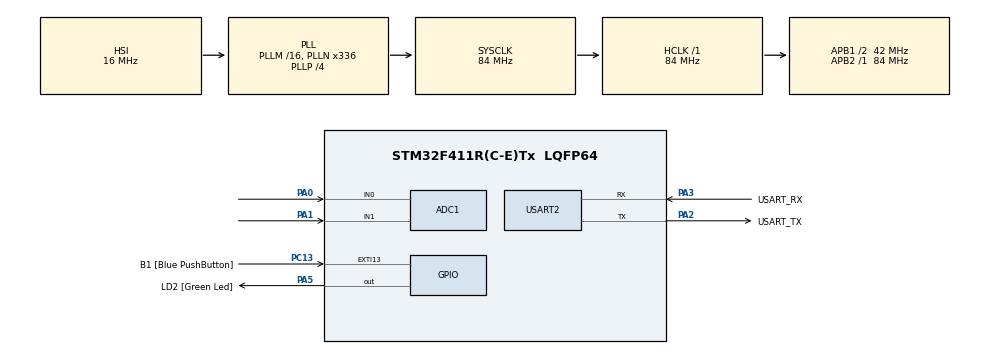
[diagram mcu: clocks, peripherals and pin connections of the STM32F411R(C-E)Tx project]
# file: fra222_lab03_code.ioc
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ADC1.Channel-1\#ChannelRegularConversion=ADC_CHANNEL_0
ADC1.NbrOfConversionFlag=1
ADC1.Rank-1\#ChannelRegularConversion=1
ADC1.SamplingTime-1\#ChannelRegularConversion=ADC_SAMPLETIME_3CYCLES
ADC1.master=1
Mcu.Family=STM32F4
Mcu.Name=STM32F411R(C-E)Tx
Mcu.Package=LQFP64
NVIC.PriorityGroup=NVIC_PRIORITYGROUP_0
PA0-WKUP.Signal=ADCx_IN0
PA1.Signal=ADCx_IN1
PA13.Signal=SYS_JTMS-SWDIO
PA14.GPIO_Label=TCK
PA14.Signal=SYS_JTCK-SWCLK
PA2.GPIO_Label=USART_TX
PA2.Mode=Asynchronous
PA2.Signal=USART2_TX
PA3.GPIO_Label=USART_RX
PA3.Mode=Asynchronous
PA3.Signal=USART2_RX
PA5.GPIO_Label=LD2 [Green Led]
PA5.Signal=GPIO_Output
PB3.GPIO_Label=SWO
PB3.Signal=SYS_JTDO-SWO
PC13-ANTI_TAMP.GPIO_Label=B1 [Blue PushButton]
PC13-ANTI_TAMP.GPIO_ModeDefaultEXTI=GPIO_MODE_IT_FALLING
PC13-ANTI_TAMP.Signal=GPXTI13
PC14-OSC32_IN.Mode=LSE-External-Oscillator
PC14-OSC32_IN.Signal=RCC_OSC32_IN
PC15-OSC32_OUT.Mode=LSE-External-Oscillator
PC15-OSC32_OUT.Signal=RCC_OSC32_OUT
PH0\ -\ OSC_IN.Mode=HSE-External-Clock-Source
PH0\ -\ OSC_IN.Signal=RCC_OSC_IN
PH1\ -\ OSC_OUT.Mode=HSE-External-Clock-Source
PH1\ -\ OSC_OUT.Signal=RCC_OSC_OUT
ProjectManager.HeapSize=0x200
ProjectManager.StackSize=0x400
ProjectManager.TargetToolchain=STM32CubeIDE
RCC.48MHZClocksFreq_Value=84000000
RCC.AHBFreq_Value=84000000
RCC.APB1CLKDivider=RCC_HCLK_DIV2
RCC.APB1Freq_Value=42000000
RCC.APB1TimFreq_Value=84000000
RCC.APB2Freq_Value=84000000
RCC.APB2TimFreq_Value=84000000
RCC.CortexFreq_Value=84000000
RCC.FLatency-AdvancedSettings=FLASH_LATENCY_2
RCC.HCLKFreq_Value=84000000
RCC.HSE_VALUE=8000000
RCC.HSI_VALUE=16000000
RCC.PLLN=336
RCC.PLLP=RCC_PLLP_DIV4
RCC.SYSCLKFreq_VALUE=84000000
RCC.SYSCLKSource=RCC_SYSCLKSOURCE_PLLCLK
RCC.VCOOutputFreq_Value=336000000
SH.ADCx_IN0.0=ADC1_IN0,IN0
SH.ADCx_IN1.0=ADC1_IN1,IN1
USART2.VirtualMode=VM_ASYNC
VP_ADC1_TempSens_Input.Mode=IN-TempSens
board=NUCLEO-F411RE

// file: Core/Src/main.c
/* USER CODE BEGIN Header */
/**
  ******************************************************************************
  * @file           : main.c
  * @brief          : Main program body
  ******************************************************************************
  * @attention
  *
  * <h2><center>&copy; Copyright (c) 2021 STMicroelectronics.
  * All rights reserved.</center></h2>
  *
  * This software component is licensed by ST under BSD 3-Clause license,
  * the "License"; You may not use this file except in compliance with the
  * License. You may obtain a copy of the License at:
  *                        opensource.org/licenses/BSD-3-Clause
  *
  ******************************************************************************
  */
/* USER CODE END Header */
#include "main.h"

ADC_HandleTypeDef hadc1;

UART_HandleTypeDef huart2;

/* USER CODE BEGIN PV */

typedef struct {
	ADC_ChannelConfTypeDef Config;
	uint32_t Data;
//>>
} ADCstructure;

ADCstructure ADCchannel[3] = {0};

float ADCOutputConverted = 0.0;  //voltage at PA0 (mV) and temperature (C)
uint8_t ADCMode = 0;             //mode0               and mode1

uint8_t SwitchButton[2] = {0};

/* USER CODE END PV */

void SystemClock_Config(void);
static void MX_GPIO_Init(void);
static void MX_USART2_UART_Init(void);
static void MX_ADC1_Init(void);
/* USER CODE BEGIN PFP */

void ADCPollingInit();  //set initial config of 3 ADCs

void ADCPollingUpdate();  //read ADC

/* USER CODE END PFP */

int main(void)
{

  /* MCU Configuration--------------------------------------------------------*/

  /* Reset of all peripherals, Initializes the Flash interface and the Systick. */
  HAL_Init();

  /* Configure the system clock */
  SystemClock_Config();

  /* Initialize all configured peripherals */
  MX_GPIO_Init();
  MX_USART2_UART_Init();
  MX_ADC1_Init();
  /* USER CODE BEGIN 2 */

  ADCPollingInit();

  /* USER CODE END 2 */

  /* Infinite loop */
  while (1)
  {

    /* USER CODE BEGIN 3 */

	  //button event
	  SwitchButton[0] = HAL_GPIO_ReadPin(GPIOC, GPIO_PIN_13);  //USER BUTTON

	  if (SwitchButton[0]==0 && SwitchButton[1]==1)
	  {
		  ADCMode = !ADCMode;  //0 or 1
	  }
	  SwitchButton[1] = SwitchButton[0];

	  //read analog
	  ADCPollingUpdate();

	  //mode0 read voltage (mV)
	  if (ADCMode == 0)
	  {
		  //using
		  //Vrev = 3300 mV
		  //resolution 12 bits = 4096
		  //
		  //equation : Vrev/2^resolution = Vcurrent/readedADC
		  //
		  ADCOutputConverted = 3300 / 4096.0 * ADCchannel[0].Data;
	  }
	  //mode1 read temperature (C)
	  else if (ADCMode == 1)
	  {
		  //from datasheet (temperature sensor characteristics p.119/149)
		  //using
		  //V_25 = 0.76 V
		  //Avg_slope = 2.5 mV/C
		  //
		  //equation : current temp = (Vsense-V_25)/Avg_slope + 25
		  //
		  ADCOutputConverted = ((3.3/4096.0 * ADCchannel[2].Data) - 0.76)/0.025 + 25;
	  }
  }
  /* USER CODE END 3 */
}

void SystemClock_Config(void)
{
  RCC_OscInitTypeDef RCC_OscInitStruct = {0};
  RCC_ClkInitTypeDef RCC_ClkInitStruct = {0};

  /** Configure the main internal regulator output voltage
  */
  __HAL_RCC_PWR_CLK_ENABLE();
  __HAL_PWR_VOLTAGESCALING_CONFIG(PWR_REGULATOR_VOLTAGE_SCALE1);
  /** Initializes the RCC Oscillators according to the specified parameters
  * in the RCC_OscInitTypeDef structure.
  */
  RCC_OscInitStruct.OscillatorType = RCC_OSCILLATORTYPE_HSI;
  RCC_OscInitStruct.HSIState = RCC_HSI_ON;
  RCC_OscInitStruct.HSICalibrationValue = RCC_HSICALIBRATION_DEFAULT;
  RCC_OscInitStruct.PLL.PLLState = RCC_PLL_ON;
  RCC_OscInitStruct.PLL.PLLSource = RCC_PLLSOURCE_HSI;
  RCC_OscInitStruct.PLL.PLLM = 16;
  RCC_OscInitStruct.PLL.PLLN = 336;
  RCC_OscInitStruct.PLL.PLLP = RCC_PLLP_DIV4;
  RCC_OscInitStruct.PLL.PLLQ = 4;
  if (HAL_RCC_OscConfig(&RCC_OscInitStruct) != HAL_OK)
  {
    Error_Handler();
  }
  /** Initializes the CPU, AHB and APB buses clocks
  */
  RCC_ClkInitStruct.ClockType = RCC_CLOCKTYPE_HCLK|RCC_CLOCKTYPE_SYSCLK
                              |RCC_CLOCKTYPE_PCLK1|RCC_CLOCKTYPE_PCLK2;
  RCC_ClkInitStruct.SYSCLKSource = RCC_SYSCLKSOURCE_PLLCLK;
  RCC_ClkInitStruct.AHBCLKDivider = RCC_SYSCLK_DIV1;
  RCC_ClkInitStruct.APB1CLKDivider = RCC_HCLK_DIV2;
  RCC_ClkInitStruct.APB2CLKDivider = RCC_HCLK_DIV1;

  if (HAL_RCC_ClockConfig(&RCC_ClkInitStruct, FLASH_LATENCY_2) != HAL_OK)
  {
    Error_Handler();
  }
}

static void MX_ADC1_Init(void)
{

  ADC_ChannelConfTypeDef sConfig = {0};

  /** Configure the global features of the ADC (Clock, Resolution, Data Alignment and number of conversion)
  */
  hadc1.Instance = ADC1;
  hadc1.Init.ClockPrescaler = ADC_CLOCK_SYNC_PCLK_DIV4;
  hadc1.Init.Resolution = ADC_RESOLUTION_12B;
  hadc1.Init.ScanConvMode = DISABLE;
  hadc1.Init.ContinuousConvMode = DISABLE;
  hadc1.Init.DiscontinuousConvMode = DISABLE;
  hadc1.Init.ExternalTrigConvEdge = ADC_EXTERNALTRIGCONVEDGE_NONE;
  hadc1.Init.ExternalTrigConv = ADC_SOFTWARE_START;
  hadc1.Init.DataAlign = ADC_DATAALIGN_RIGHT;
  hadc1.Init.NbrOfConversion = 1;
  hadc1.Init.DMAContinuousRequests = DISABLE;
  hadc1.Init.EOCSelection = ADC_EOC_SINGLE_CONV;
  if (HAL_ADC_Init(&hadc1) != HAL_OK)
  {
    Error_Handler();
  }
  /** Configure for the selected ADC regular channel its corresponding rank in the sequencer and its sample time.
  */
  sConfig.Channel = ADC_CHANNEL_0;
  sConfig.Rank = 1;
  sConfig.SamplingTime = ADC_SAMPLETIME_3CYCLES;
  if (HAL_ADC_ConfigChannel(&hadc1, &sConfig) != HAL_OK)
  {
    Error_Handler();
  }

}

static void MX_USART2_UART_Init(void)
{

  huart2.Instance = USART2;
  huart2.Init.BaudRate = 115200;
  huart2.Init.WordLength = UART_WORDLENGTH_8B;
  huart2.Init.StopBits = UART_STOPBITS_1;
  huart2.Init.Parity = UART_PARITY_NONE;
  huart2.Init.Mode = UART_MODE_TX_RX;
  huart2.Init.HwFlowCtl = UART_HWCONTROL_NONE;
  huart2.Init.OverSampling = UART_OVERSAMPLING_16;
  if (HAL_UART_Init(&huart2) != HAL_OK)
  {
    Error_Handler();
  }

}

static void MX_GPIO_Init(void)
{
  GPIO_InitTypeDef GPIO_InitStruct = {0};

  /* GPIO Ports Clock Enable */
  __HAL_RCC_GPIOC_CLK_ENABLE();
  __HAL_RCC_GPIOH_CLK_ENABLE();
  __HAL_RCC_GPIOA_CLK_ENABLE();
  __HAL_RCC_GPIOB_CLK_ENABLE();

  /*Configure GPIO pin Output Level */
  HAL_GPIO_WritePin(LD2_GPIO_Port, LD2_Pin, GPIO_PIN_RESET);

  /*Configure GPIO pin : B1_Pin */
  GPIO_InitStruct.Pin = B1_Pin;
  GPIO_InitStruct.Mode = GPIO_MODE_IT_FALLING;
  GPIO_InitStruct.Pull = GPIO_NOPULL;
  HAL_GPIO_Init(B1_GPIO_Port, &GPIO_InitStruct);

  /*Configure GPIO pin : LD2_Pin */
  GPIO_InitStruct.Pin = LD2_Pin;
  GPIO_InitStruct.Mode = GPIO_MODE_OUTPUT_PP;
  GPIO_InitStruct.Pull = GPIO_NOPULL;
  GPIO_InitStruct.Speed = GPIO_SPEED_FREQ_LOW;
  HAL_GPIO_Init(LD2_GPIO_Port, &GPIO_InitStruct);

}

/* USER CODE BEGIN 4 */

void ADCPollingInit()
{
	//PA0 - ADC IN0
	ADCchannel[0].Config.Channel = ADC_CHANNEL_0;
	ADCchannel[0].Config.Rank = 1;
	ADCchannel[0].Config.SamplingTime = ADC_SAMPLETIME_3CYCLES;

	//PA1 - ADC IN1
	ADCchannel[1].Config.Channel = ADC_CHANNEL_1;
	ADCchannel[1].Config.Rank = 1;
	ADCchannel[1].Config.SamplingTime = ADC_SAMPLETIME_3CYCLES;

	//Temperature sensor
	ADCchannel[2].Config.Channel = ADC_CHANNEL_TEMPSENSOR;
	ADCchannel[2].Config.Rank = 1;
	ADCchannel[2].Config.SamplingTime = ADC_SAMPLETIME_3CYCLES;
}

void ADCPollingUpdate()
{
	for (int i = 0; i < 3; i++)  //all 3 channels
	{
		//select channel
		HAL_ADC_ConfigChannel(&hadc1, &ADCchannel[i].Config);  //**input pointer

		//ADC sampling, convert
		HAL_ADC_Start(&hadc1);

		//wait for ADC
		//
		//HAL_... will return HAL_OK when it finished
		if (HAL_ADC_PollForConversion(&hadc1, 10) == HAL_OK)  //Timeout: 10ms
		{
			//get value from ADC
			ADCchannel[i].Data = HAL_ADC_GetValue(&hadc1);
		}
		//stop
		HAL_ADC_Stop(&hadc1);
	}
}

/* USER CODE END 4 */

void Error_Handler(void)
{
  __disable_irq();
  while (1)
  {
  }
}

/************************ (C) COPYRIGHT STMicroelectronics *****END OF FILE****/
